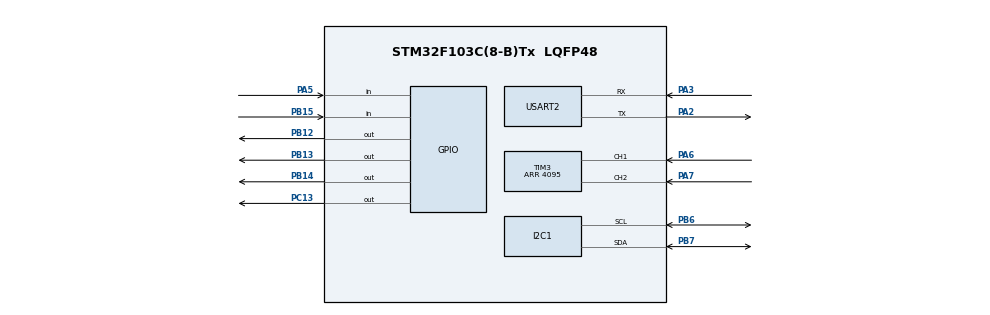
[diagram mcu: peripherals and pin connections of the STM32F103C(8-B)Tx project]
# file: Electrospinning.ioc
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Mcu.Family=STM32F1
Mcu.Name=STM32F103C(8-B)Tx
Mcu.Package=LQFP48
NVIC.PriorityGroup=NVIC_PRIORITYGROUP_4
NVIC.TIM3_IRQn=true\:0\:0\:false\:false\:true\:true
PA13.Mode=Serial_Wire
PA13.Signal=SYS_JTMS-SWDIO
PA14.Mode=Serial_Wire
PA14.Signal=SYS_JTCK-SWCLK
PA2.Mode=Asynchronous
PA2.Signal=USART2_TX
PA3.Mode=Asynchronous
PA3.Signal=USART2_RX
PA5.GPIO_Mode=GPIO_MODE_INPUT
PA5.GPIO_PuPd=GPIO_NOPULL
PA5.Signal=GPIO_Input
PA6.GPIO_Mode=GPIO_MODE_INPUT
PA6.GPIO_PuPd=GPIO_PULLUP
PA6.Signal=S_TIM3_CH1
PA7.GPIO_Mode=GPIO_MODE_INPUT
PA7.GPIO_PuPd=GPIO_PULLUP
PA7.Signal=S_TIM3_CH2
PB12.GPIO_ModeDefaultOutputPP=GPIO_MODE_OUTPUT_PP
PB12.GPIO_PuPd=GPIO_NOPULL
PB12.GPIO_Speed=GPIO_SPEED_FREQ_LOW
PB12.PinState=GPIO_PIN_RESET
PB12.Signal=GPIO_Output
PB13.GPIO_ModeDefaultOutputPP=GPIO_MODE_OUTPUT_PP
PB13.GPIO_PuPd=GPIO_NOPULL
PB13.GPIO_Speed=GPIO_SPEED_FREQ_LOW
PB13.PinState=GPIO_PIN_RESET
PB13.Signal=GPIO_Output
PB14.GPIO_ModeDefaultOutputPP=GPIO_MODE_OUTPUT_PP
PB14.GPIO_PuPd=GPIO_NOPULL
PB14.GPIO_Speed=GPIO_SPEED_FREQ_LOW
PB14.PinState=GPIO_PIN_RESET
PB14.Signal=GPIO_Output
PB15.GPIO_Mode=GPIO_MODE_INPUT
PB15.GPIO_PuPd=GPIO_NOPULL
PB15.Signal=GPIO_Input
PB6.Mode=I2C
PB6.Signal=I2C1_SCL
PB7.Mode=I2C
PB7.Signal=I2C1_SDA
PC13-TAMPER-RTC.GPIO_ModeDefaultOutputPP=GPIO_MODE_OUTPUT_PP
PC13-TAMPER-RTC.GPIO_PuPd=GPIO_NOPULL
PC13-TAMPER-RTC.GPIO_Speed=GPIO_SPEED_FREQ_LOW
PC13-TAMPER-RTC.PinState=GPIO_PIN_RESET
PC13-TAMPER-RTC.Signal=GPIO_Output
PC14-OSC32_IN.Mode=LSE-External-Oscillator
PC14-OSC32_IN.Signal=RCC_OSC32_IN
PC15-OSC32_OUT.Mode=LSE-External-Oscillator
PC15-OSC32_OUT.Signal=RCC_OSC32_OUT
PD0-OSC_IN.Mode=HSE-External-Oscillator
PD0-OSC_IN.Signal=RCC_OSC_IN
PD1-OSC_OUT.Mode=HSE-External-Oscillator
PD1-OSC_OUT.Signal=RCC_OSC_OUT
ProjectManager.HeapSize=0x200
ProjectManager.StackSize=0x400
ProjectManager.TargetToolchain=MDK-ARM V5
RCC.APB1Freq_Value=8000000
RCC.APB2Freq_Value=8000000
SH.S_TIM3_CH1.0=TIM3_CH1,Encoder_Interface
SH.S_TIM3_CH2.0=TIM3_CH2,Encoder_Interface
TIM3.EncoderMode=TIM_ENCODERMODE_TI12
TIM3.Period=4095
USART2.VirtualMode=VM_ASYNC
board=custom

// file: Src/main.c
/* USER CODE BEGIN Header */
/**
  ******************************************************************************
  * @file           : main.c
  * @brief          : Main program body
  ******************************************************************************
  ** This notice applies to any and all portions of this file
  * that are not between comment pairs USER CODE BEGIN and
  * USER CODE END. Other portions of this file, whether
  * inserted by the user or by software development tools
  * are owned by their respective copyright owners.
  *
  * COPYRIGHT(c) 2019 STMicroelectronics
  *
  * Redistribution and use in source and binary forms, with or without modification,
  * are permitted provided that the following conditions are met:
  *   1. Redistributions of source code must retain the above copyright notice,
  *      this list of conditions and the following disclaimer.
  *   2. Redistributions in binary form must reproduce the above copyright notice,
  *      this list of conditions and the following disclaimer in the documentation
  *      and/or other materials provided with the distribution.
  *   3. Neither the name of STMicroelectronics nor the names of its contributors
  *      may be used to endorse or promote products derived from this software
  *      without specific prior written permission.
  *
  * THIS SOFTWARE IS PROVIDED BY THE COPYRIGHT HOLDERS AND CONTRIBUTORS "AS IS"
  * AND ANY EXPRESS OR IMPLIED WARRANTIES, INCLUDING, BUT NOT LIMITED TO, THE
  * IMPLIED WARRANTIES OF MERCHANTABILITY AND FITNESS FOR A PARTICULAR PURPOSE ARE
  * DISCLAIMED. IN NO EVENT SHALL THE COPYRIGHT HOLDER OR CONTRIBUTORS BE LIABLE
  * FOR ANY DIRECT, INDIRECT, INCIDENTAL, SPECIAL, EXEMPLARY, OR CONSEQUENTIAL
  * DAMAGES (INCLUDING, BUT NOT LIMITED TO, PROCUREMENT OF SUBSTITUTE GOODS OR
  * SERVICES; LOSS OF USE, DATA, OR PROFITS; OR BUSINESS INTERRUPTION) HOWEVER
  * CAUSED AND ON ANY THEORY OF LIABILITY, WHETHER IN CONTRACT, STRICT LIABILITY,
  * OR TORT (INCLUDING NEGLIGENCE OR OTHERWISE) ARISING IN ANY WAY OUT OF THE USE
  * OF THIS SOFTWARE, EVEN IF ADVISED OF THE POSSIBILITY OF SUCH DAMAGE.
  *
  ******************************************************************************
  */
/* USER CODE END Header */

#include "main.h"
#include "stm32f1xx_hal_lcd_i2c.h"
#include "stm32f1xx_hal_delay.h"
#include "stdio.h"

/* USER CODE BEGIN Includes */
char buffer[40];
int var;
int count;    // Encoder value.
int flag = 0;
uint32_t value;

/* USER CODE END Includes */

I2C_HandleTypeDef hi2c1;

TIM_HandleTypeDef htim3;

UART_HandleTypeDef huart2;

void SystemClock_Config(void);
static void MX_GPIO_Init(void);
static void MX_I2C1_Init(void);
static void MX_USART2_UART_Init(void);
static void MX_TIM3_Init(void);

int main(void)
{

  /* MCU Configuration--------------------------------------------------------*/

  /* Reset of all peripherals, Initializes the Flash interface and the Systick. */
  HAL_Init();

  /* Configure the system clock */
  SystemClock_Config();

  /* Initialize all configured peripherals */
  MX_GPIO_Init();
  MX_I2C1_Init();
  MX_USART2_UART_Init();
  MX_TIM3_Init();
	HAL_TIM_Encoder_Start(&htim3, TIM_CHANNEL_ALL);
  /* USER CODE BEGIN 2 */
  lcd_init();
	lcd_goto_XY(1,0);
	lcd_send_string("Electrospinning");
	lcd_goto_XY(2,0);
	lcd_send_string("Speed:");
  /* USER CODE END 2 */

  /* Infinite loop */
  /* USER CODE BEGIN WHILE */
  while (1)
  {

		value = TIM3 ->CNT;
		sprintf(buffer,"%d",value);
		lcd_goto_XY(2,10);
		lcd_send_string(buffer);

		if (HAL_GPIO_ReadPin(GPIOA,GPIO_PIN_5) == RESET)
		{
			flag = !flag;
		}

		if (flag == 1)
		{

			lcd_goto_XY(2,0);
			lcd_send_string(" Run.. ");
			HAL_Delay(100);
			lcd_goto_XY(2,0);
			lcd_send_string(" Run   ");
			HAL_Delay(100);

     }

    /* USER CODE END WHILE */

  }
}

void SystemClock_Config(void)
{
  RCC_OscInitTypeDef RCC_OscInitStruct = {0};
  RCC_ClkInitTypeDef RCC_ClkInitStruct = {0};

  /**Initializes the CPU, AHB and APB busses clocks
  */
  RCC_OscInitStruct.OscillatorType = RCC_OSCILLATORTYPE_HSI;
  RCC_OscInitStruct.HSIState = RCC_HSI_ON;
  RCC_OscInitStruct.HSICalibrationValue = RCC_HSICALIBRATION_DEFAULT;
  RCC_OscInitStruct.PLL.PLLState = RCC_PLL_NONE;
  if (HAL_RCC_OscConfig(&RCC_OscInitStruct) != HAL_OK)
  {
    Error_Handler();
  }
  /**Initializes the CPU, AHB and APB busses clocks
  */
  RCC_ClkInitStruct.ClockType = RCC_CLOCKTYPE_HCLK|RCC_CLOCKTYPE_SYSCLK
                              |RCC_CLOCKTYPE_PCLK1|RCC_CLOCKTYPE_PCLK2;
  RCC_ClkInitStruct.SYSCLKSource = RCC_SYSCLKSOURCE_HSI;
  RCC_ClkInitStruct.AHBCLKDivider = RCC_SYSCLK_DIV1;
  RCC_ClkInitStruct.APB1CLKDivider = RCC_HCLK_DIV1;
  RCC_ClkInitStruct.APB2CLKDivider = RCC_HCLK_DIV1;

  if (HAL_RCC_ClockConfig(&RCC_ClkInitStruct, FLASH_LATENCY_0) != HAL_OK)
  {
    Error_Handler();
  }
}

static void MX_I2C1_Init(void)
{

  hi2c1.Instance = I2C1;
  hi2c1.Init.ClockSpeed = 100000;
  hi2c1.Init.DutyCycle = I2C_DUTYCYCLE_2;
  hi2c1.Init.OwnAddress1 = 0;
  hi2c1.Init.AddressingMode = I2C_ADDRESSINGMODE_7BIT;
  hi2c1.Init.DualAddressMode = I2C_DUALADDRESS_DISABLE;
  hi2c1.Init.OwnAddress2 = 0;
  hi2c1.Init.GeneralCallMode = I2C_GENERALCALL_DISABLE;
  hi2c1.Init.NoStretchMode = I2C_NOSTRETCH_DISABLE;
  if (HAL_I2C_Init(&hi2c1) != HAL_OK)
  {
    Error_Handler();
  }

}

static void MX_TIM3_Init(void)
{

  TIM_Encoder_InitTypeDef sConfig = {0};
  TIM_MasterConfigTypeDef sMasterConfig = {0};

  htim3.Instance = TIM3;
  htim3.Init.Prescaler = 0;
  htim3.Init.CounterMode = TIM_COUNTERMODE_UP;
  htim3.Init.Period = 4095;
  htim3.Init.ClockDivision = TIM_CLOCKDIVISION_DIV1;
  htim3.Init.AutoReloadPreload = TIM_AUTORELOAD_PRELOAD_DISABLE;
  sConfig.EncoderMode = TIM_ENCODERMODE_TI12;
  sConfig.IC1Polarity = TIM_ICPOLARITY_RISING;
  sConfig.IC1Selection = TIM_ICSELECTION_DIRECTTI;
  sConfig.IC1Prescaler = TIM_ICPSC_DIV1;
  sConfig.IC1Filter = 0;
  sConfig.IC2Polarity = TIM_ICPOLARITY_RISING;
  sConfig.IC2Selection = TIM_ICSELECTION_DIRECTTI;
  sConfig.IC2Prescaler = TIM_ICPSC_DIV1;
  sConfig.IC2Filter = 0;
  if (HAL_TIM_Encoder_Init(&htim3, &sConfig) != HAL_OK)
  {
    Error_Handler();
  }
  sMasterConfig.MasterOutputTrigger = TIM_TRGO_RESET;
  sMasterConfig.MasterSlaveMode = TIM_MASTERSLAVEMODE_DISABLE;
  if (HAL_TIMEx_MasterConfigSynchronization(&htim3, &sMasterConfig) != HAL_OK)
  {
    Error_Handler();
  }

}

static void MX_USART2_UART_Init(void)
{

  huart2.Instance = USART2;
  huart2.Init.BaudRate = 115200;
  huart2.Init.WordLength = UART_WORDLENGTH_8B;
  huart2.Init.StopBits = UART_STOPBITS_1;
  huart2.Init.Parity = UART_PARITY_NONE;
  huart2.Init.Mode = UART_MODE_TX_RX;
  huart2.Init.HwFlowCtl = UART_HWCONTROL_NONE;
  huart2.Init.OverSampling = UART_OVERSAMPLING_16;
  if (HAL_UART_Init(&huart2) != HAL_OK)
  {
    Error_Handler();
  }

}

static void MX_GPIO_Init(void)
{
  GPIO_InitTypeDef GPIO_InitStruct = {0};

  /* GPIO Ports Clock Enable */
  __HAL_RCC_GPIOC_CLK_ENABLE();
  __HAL_RCC_GPIOD_CLK_ENABLE();
  __HAL_RCC_GPIOA_CLK_ENABLE();
  __HAL_RCC_GPIOB_CLK_ENABLE();

  /*Configure GPIO pin Output Level */
  HAL_GPIO_WritePin(GPIOC, GPIO_PIN_13, GPIO_PIN_RESET);

  /*Configure GPIO pin Output Level */
  HAL_GPIO_WritePin(GPIOB, GPIO_PIN_12|GPIO_PIN_13|GPIO_PIN_14, GPIO_PIN_RESET);

  /*Configure GPIO pin : PC13 */
  GPIO_InitStruct.Pin = GPIO_PIN_13;
  GPIO_InitStruct.Mode = GPIO_MODE_OUTPUT_PP;
  GPIO_InitStruct.Pull = GPIO_NOPULL;
  GPIO_InitStruct.Speed = GPIO_SPEED_FREQ_LOW;
  HAL_GPIO_Init(GPIOC, &GPIO_InitStruct);

  /*Configure GPIO pin : PA5 */
  GPIO_InitStruct.Pin = GPIO_PIN_5;
  GPIO_InitStruct.Mode = GPIO_MODE_INPUT;
  GPIO_InitStruct.Pull = GPIO_NOPULL;
  HAL_GPIO_Init(GPIOA, &GPIO_InitStruct);

  /*Configure GPIO pins : PB12 PB13 PB14 */
  GPIO_InitStruct.Pin = GPIO_PIN_12|GPIO_PIN_13|GPIO_PIN_14;
  GPIO_InitStruct.Mode = GPIO_MODE_OUTPUT_PP;
  GPIO_InitStruct.Pull = GPIO_NOPULL;
  GPIO_InitStruct.Speed = GPIO_SPEED_FREQ_LOW;
  HAL_GPIO_Init(GPIOB, &GPIO_InitStruct);

  /*Configure GPIO pin : PB15 */
  GPIO_InitStruct.Pin = GPIO_PIN_15;
  GPIO_InitStruct.Mode = GPIO_MODE_INPUT;
  GPIO_InitStruct.Pull = GPIO_NOPULL;
  HAL_GPIO_Init(GPIOB, &GPIO_InitStruct);

}

void Error_Handler(void)
{
}

/************************ (C) COPYRIGHT STMicroelectronics *****END OF FILE****/
